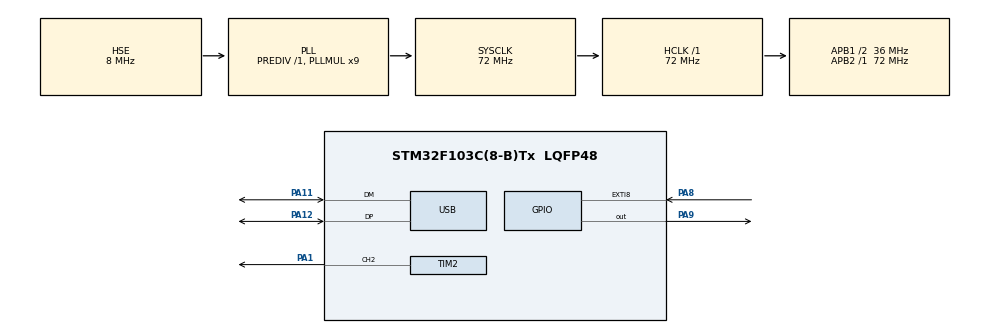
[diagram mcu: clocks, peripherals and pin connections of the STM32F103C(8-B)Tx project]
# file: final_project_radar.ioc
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Mcu.Family=STM32F1
Mcu.Name=STM32F103C(8-B)Tx
Mcu.Package=LQFP48
NVIC.PriorityGroup=NVIC_PRIORITYGROUP_4
NVIC.USB_LP_CAN1_RX0_IRQn=true\:0\:0\:false\:false\:true\:false\:true\:true
PA1.Signal=S_TIM2_CH2
PA11.Mode=Device
PA11.Signal=USB_DM
PA12.Mode=Device
PA12.Signal=USB_DP
PA8.GPIO_ModeDefaultEXTI=GPIO_MODE_IT_RISING_FALLING
PA8.Signal=GPXTI8
PA9.Signal=GPIO_Output
PD0-OSC_IN.Mode=HSE-External-Oscillator
PD0-OSC_IN.Signal=RCC_OSC_IN
PD1-OSC_OUT.Mode=HSE-External-Oscillator
PD1-OSC_OUT.Signal=RCC_OSC_OUT
ProjectManager.HeapSize=0x200
ProjectManager.StackSize=0x400
ProjectManager.TargetToolchain=STM32CubeIDE
RCC.AHBFreq_Value=72000000
RCC.APB1CLKDivider=RCC_HCLK_DIV2
RCC.APB1Freq_Value=36000000
RCC.APB1TimFreq_Value=72000000
RCC.APB2Freq_Value=72000000
RCC.APB2TimFreq_Value=72000000
RCC.HCLKFreq_Value=72000000
RCC.PLLMUL=RCC_PLL_MUL9
RCC.SYSCLKFreq_VALUE=72000000
RCC.SYSCLKSource=RCC_SYSCLKSOURCE_PLLCLK
RCC.USBFreq_Value=48000000
RCC.USBPrescaler=RCC_USBCLKSOURCE_PLL_DIV1_5
SH.S_TIM2_CH2.0=TIM2_CH2,PWM Generation2 CH2
TIM1.Prescaler=71
TIM2.Channel-PWM\ Generation2\ CH2=TIM_CHANNEL_2
TIM2.Period=24999
TIM2.Prescaler=71
USB_DEVICE.CLASS_NAME_FS=CDC
USB_DEVICE.VirtualMode=Cdc
USB_DEVICE.VirtualModeFS=Cdc_FS
VP_SYS_VS_ND.Mode=No_Debug
VP_TIM1_VS_ClockSourceINT.Mode=Internal
VP_TIM2_VS_ClockSourceINT.Mode=Internal
VP_USB_DEVICE_VS_USB_DEVICE_CDC_FS.Mode=CDC_FS
board=custom

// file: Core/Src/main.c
/* USER CODE BEGIN Header */
/**
  ******************************************************************************
  * @file           : main.c
  * @brief          : Main program body
  ******************************************************************************
  * @attention
  *
  * Copyright (c) 2025 STMicroelectronics.
  * All rights reserved.
  *
  * This software is licensed under terms that can be found in the LICENSE file
  * in the root directory of this software component.
  * If no LICENSE file comes with this software, it is provided AS-IS.
  *
  ******************************************************************************
  */
/* USER CODE END Header */
#include "main.h"
#include "usb_device.h"

/* USER CODE BEGIN Includes */
#include <stdbool.h>

/* USER CODE END Includes */

TIM_HandleTypeDef htim1;
TIM_HandleTypeDef htim2;

/* USER CODE BEGIN PV */
#define TRIG_PIN GPIO_PIN_9
#define TRIG_PORT GPIOA
#define ECHO_PIN GPIO_PIN_8
#define ECHO_PORT GPIOA
uint32_t pMillis;
uint32_t Value1 = 0;
uint32_t Value2 = 0;
uint16_t Distance = 0;  // cm
/* USER CODE END PV */

void SystemClock_Config(void);
static void MX_GPIO_Init(void);
static void MX_TIM2_Init(void);
static void MX_TIM1_Init(void);

/* USER CODE BEGIN 0 */
bool clockwise = true; // Variable to control the direction of the motor
volatile uint16_t pwm_value = 0; // Variable to store the PWM value

volatile bool distance_recieved = false;

/* USER CODE END 0 */

int main(void)
{

  /* MCU Configuration--------------------------------------------------------*/

  /* Reset of all peripherals, Initializes the Flash interface and the Systick. */
  HAL_Init();

  /* Configure the system clock */
  SystemClock_Config();

  /* Initialize all configured peripherals */
  MX_GPIO_Init();
  MX_USB_DEVICE_Init();
  MX_TIM2_Init();
  MX_TIM1_Init();
  /* USER CODE BEGIN 2 */

  HAL_TIM_Base_Start(&htim1);
  HAL_GPIO_WritePin(TRIG_PORT, TRIG_PIN, GPIO_PIN_RESET);  // pull the TRIG pin low
  HAL_TIM_PWM_Start(&htim2, TIM_CHANNEL_2);

  HAL_NVIC_SetPriority(EXTI9_5_IRQn, 2, 0); // Adjust priority as needed
  HAL_NVIC_EnableIRQ(EXTI9_5_IRQn);

  /* USER CODE END 2 */

  /* Infinite loop */
  /* USER CODE BEGIN WHILE */
  #define MIN_PWD 500
  #define MAX_PWD 2500
  #define NUMBER_CHECKS 100
  #define PWD_TO_INCREMENT ((MAX_PWD - MIN_PWD) / NUMBER_CHECKS) // 80

  uint32_t last_tick = 0;
  while (1)
  {
    /* USER CODE END WHILE */

    /* USER CODE BEGIN 3 */

    if (distance_recieved) {
      char buffer[50];
      int len = snprintf(buffer, sizeof(buffer), "%d,%d\n\r", Distance, pwm_value);
      CDC_Transmit_FS((uint8_t *)buffer, len);
      distance_recieved = false;
    }

    // Run this block every 50ms
    if (HAL_GetTick() - last_tick >= 50) {
      last_tick = HAL_GetTick();

      if (clockwise) {
        pwm_value += PWD_TO_INCREMENT; // Increase the PWM value for clockwise rotation
        if (pwm_value >= MAX_PWD) {
          clockwise = false; // Change direction to counter-clockwise
        }
      } else {
        pwm_value -= PWD_TO_INCREMENT; // Decrease the PWM value for counter-clockwise rotation
        if (pwm_value <= MIN_PWD) {
          clockwise = true; // Change direction to clockwise
        }
      }
      __HAL_TIM_SET_COMPARE(&htim2,TIM_CHANNEL_2, pwm_value);

      HAL_GPIO_WritePin(TRIG_PORT, TRIG_PIN, GPIO_PIN_SET);  // pull the TRIG pin HIGH
      __HAL_TIM_SET_COUNTER(&htim1, 0);
      while (__HAL_TIM_GET_COUNTER (&htim1) < 10);  // wait for 10 us
      HAL_GPIO_WritePin(TRIG_PORT, TRIG_PIN, GPIO_PIN_RESET);  // pull the TRIG pin low

    }
  }
  /* USER CODE END 3 */
}

void SystemClock_Config(void)
{
  RCC_OscInitTypeDef RCC_OscInitStruct = {0};
  RCC_ClkInitTypeDef RCC_ClkInitStruct = {0};
  RCC_PeriphCLKInitTypeDef PeriphClkInit = {0};

  /** Initializes the RCC Oscillators according to the specified parameters
  * in the RCC_OscInitTypeDef structure.
  */
  RCC_OscInitStruct.OscillatorType = RCC_OSCILLATORTYPE_HSE;
  RCC_OscInitStruct.HSEState = RCC_HSE_ON;
  RCC_OscInitStruct.HSEPredivValue = RCC_HSE_PREDIV_DIV1;
  RCC_OscInitStruct.HSIState = RCC_HSI_ON;
  RCC_OscInitStruct.PLL.PLLState = RCC_PLL_ON;
  RCC_OscInitStruct.PLL.PLLSource = RCC_PLLSOURCE_HSE;
  RCC_OscInitStruct.PLL.PLLMUL = RCC_PLL_MUL9;
  if (HAL_RCC_OscConfig(&RCC_OscInitStruct) != HAL_OK)
  {
    Error_Handler();
  }

  /** Initializes the CPU, AHB and APB buses clocks
  */
  RCC_ClkInitStruct.ClockType = RCC_CLOCKTYPE_HCLK|RCC_CLOCKTYPE_SYSCLK
                              |RCC_CLOCKTYPE_PCLK1|RCC_CLOCKTYPE_PCLK2;
  RCC_ClkInitStruct.SYSCLKSource = RCC_SYSCLKSOURCE_PLLCLK;
  RCC_ClkInitStruct.AHBCLKDivider = RCC_SYSCLK_DIV1;
  RCC_ClkInitStruct.APB1CLKDivider = RCC_HCLK_DIV2;
  RCC_ClkInitStruct.APB2CLKDivider = RCC_HCLK_DIV1;

  if (HAL_RCC_ClockConfig(&RCC_ClkInitStruct, FLASH_LATENCY_2) != HAL_OK)
  {
    Error_Handler();
  }
  PeriphClkInit.PeriphClockSelection = RCC_PERIPHCLK_USB;
  PeriphClkInit.UsbClockSelection = RCC_USBCLKSOURCE_PLL_DIV1_5;
  if (HAL_RCCEx_PeriphCLKConfig(&PeriphClkInit) != HAL_OK)
  {
    Error_Handler();
  }
}

static void MX_TIM1_Init(void)
{

  TIM_ClockConfigTypeDef sClockSourceConfig = {0};
  TIM_MasterConfigTypeDef sMasterConfig = {0};

  htim1.Instance = TIM1;
  htim1.Init.Prescaler = 71;
  htim1.Init.CounterMode = TIM_COUNTERMODE_UP;
  htim1.Init.Period = 65535;
  htim1.Init.ClockDivision = TIM_CLOCKDIVISION_DIV1;
  htim1.Init.RepetitionCounter = 0;
  htim1.Init.AutoReloadPreload = TIM_AUTORELOAD_PRELOAD_DISABLE;
  if (HAL_TIM_Base_Init(&htim1) != HAL_OK)
  {
    Error_Handler();
  }
  sClockSourceConfig.ClockSource = TIM_CLOCKSOURCE_INTERNAL;
  if (HAL_TIM_ConfigClockSource(&htim1, &sClockSourceConfig) != HAL_OK)
  {
    Error_Handler();
  }
  sMasterConfig.MasterOutputTrigger = TIM_TRGO_RESET;
  sMasterConfig.MasterSlaveMode = TIM_MASTERSLAVEMODE_DISABLE;
  if (HAL_TIMEx_MasterConfigSynchronization(&htim1, &sMasterConfig) != HAL_OK)
  {
    Error_Handler();
  }

}

static void MX_TIM2_Init(void)
{

  TIM_ClockConfigTypeDef sClockSourceConfig = {0};
  TIM_MasterConfigTypeDef sMasterConfig = {0};
  TIM_OC_InitTypeDef sConfigOC = {0};

  htim2.Instance = TIM2;
  htim2.Init.Prescaler = 71;
  htim2.Init.CounterMode = TIM_COUNTERMODE_UP;
  htim2.Init.Period = 24999;
  htim2.Init.ClockDivision = TIM_CLOCKDIVISION_DIV1;
  htim2.Init.AutoReloadPreload = TIM_AUTORELOAD_PRELOAD_DISABLE;
  if (HAL_TIM_Base_Init(&htim2) != HAL_OK)
  {
    Error_Handler();
  }
  sClockSourceConfig.ClockSource = TIM_CLOCKSOURCE_INTERNAL;
  if (HAL_TIM_ConfigClockSource(&htim2, &sClockSourceConfig) != HAL_OK)
  {
    Error_Handler();
  }
  if (HAL_TIM_PWM_Init(&htim2) != HAL_OK)
  {
    Error_Handler();
  }
  sMasterConfig.MasterOutputTrigger = TIM_TRGO_RESET;
  sMasterConfig.MasterSlaveMode = TIM_MASTERSLAVEMODE_DISABLE;
  if (HAL_TIMEx_MasterConfigSynchronization(&htim2, &sMasterConfig) != HAL_OK)
  {
    Error_Handler();
  }
  sConfigOC.OCMode = TIM_OCMODE_PWM1;
  sConfigOC.Pulse = 0;
  sConfigOC.OCPolarity = TIM_OCPOLARITY_HIGH;
  sConfigOC.OCFastMode = TIM_OCFAST_DISABLE;
  if (HAL_TIM_PWM_ConfigChannel(&htim2, &sConfigOC, TIM_CHANNEL_2) != HAL_OK)
  {
    Error_Handler();
  }
  HAL_TIM_MspPostInit(&htim2);

}

static void MX_GPIO_Init(void)
{
  GPIO_InitTypeDef GPIO_InitStruct = {0};

  /* GPIO Ports Clock Enable */
  __HAL_RCC_GPIOD_CLK_ENABLE();
  __HAL_RCC_GPIOA_CLK_ENABLE();

  /*Configure GPIO pin Output Level */
  HAL_GPIO_WritePin(GPIOA, GPIO_PIN_9, GPIO_PIN_RESET);

  /*Configure GPIO pin : PA8 */
  GPIO_InitStruct.Pin = GPIO_PIN_8;
  GPIO_InitStruct.Mode = GPIO_MODE_IT_RISING_FALLING;
  GPIO_InitStruct.Pull = GPIO_NOPULL;
  HAL_GPIO_Init(GPIOA, &GPIO_InitStruct);

  /*Configure GPIO pin : PA9 */
  GPIO_InitStruct.Pin = GPIO_PIN_9;
  GPIO_InitStruct.Mode = GPIO_MODE_OUTPUT_PP;
  GPIO_InitStruct.Pull = GPIO_NOPULL;
  GPIO_InitStruct.Speed = GPIO_SPEED_FREQ_LOW;
  HAL_GPIO_Init(GPIOA, &GPIO_InitStruct);

}

/* USER CODE BEGIN 4 */

void EXTI9_5_IRQHandler(void)
{
    HAL_GPIO_EXTI_IRQHandler(GPIO_PIN_8); // Handle the interrupt for PA8
}

void HAL_GPIO_EXTI_Callback(uint16_t GPIO_Pin)
{
    static uint32_t startTime = 0;

    if (GPIO_Pin == GPIO_PIN_8) // Check if the interrupt is for ECHO_PIN
    {
        if (HAL_GPIO_ReadPin(ECHO_PORT, ECHO_PIN) == GPIO_PIN_SET) // Rising edge
        {
            startTime = __HAL_TIM_GET_COUNTER(&htim1); // Record the start time
        }
        else if (HAL_GPIO_ReadPin(ECHO_PORT, ECHO_PIN) == GPIO_PIN_RESET) // Falling edge
        {
            uint32_t endTime = __HAL_TIM_GET_COUNTER(&htim1); // Record the end time
            Distance = (endTime - startTime) * 0.034 / 2; // Calculate distance in cm
            distance_recieved = true;
        }
    }
}
/* USER CODE END 4 */

void Error_Handler(void)
{
  __disable_irq();
  while (1)
  {
  }
}
